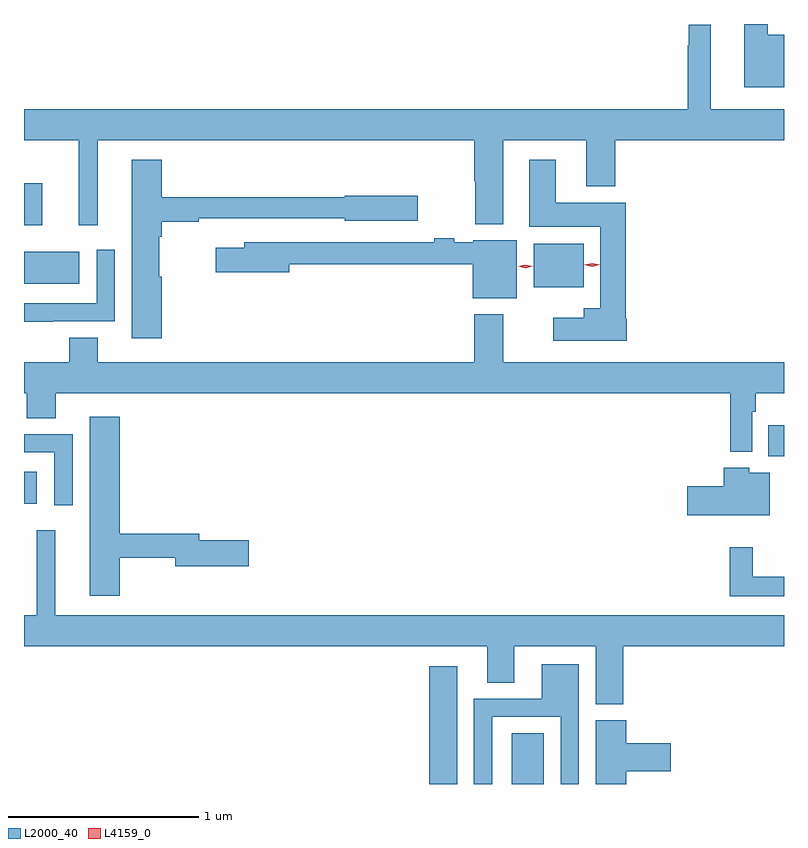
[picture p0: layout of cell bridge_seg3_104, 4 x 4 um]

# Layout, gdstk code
import gdstk
lib = gdstk.Library(unit=1e-6, precision=1e-09)
def R(c, l, rs):  # rectangles x0, y0, x1, y1
    for r in rs: c.add(gdstk.rectangle(r[:2], r[2:], *l))
def P(c, l, *ps):  # polygons
    for p in ps: c.add(gdstk.Polygon(p, *l))
L2000_40 = (2000, 40)
L4159_0 = (4159, 0)

bridge_seg3_104 = lib.new_cell('bridge_seg3_104')
R(bridge_seg3_104, L2000_40, [(556.292,726.832,556.438,727.453), (556.727,726.832,556.894,727.1), (554.159,728.306,554.227,728.476), (558.076,728.558,558.159,728.719), (556.841,729.446,557.104,729.676), (554.159,729.464,554.449,729.634), (554.159,729.774,554.255,729.993)])
P(bridge_seg3_104, L2000_40, [(558.159,730.775),(558.073,730.775),(558.073,730.832),(557.951,730.832),(557.951,730.499),(558.159,730.499)],
  [(554.546,730.22),(556.529,730.22),(556.529,730.005),(556.534,730.005),(556.534,729.779),(556.681,729.779),(556.681,730.22),(557.117,730.22),(557.117,729.977),(557.27,729.977),(557.27,730.22),(558.159,730.22),(558.159,730.384),(557.773,730.384),(557.773,730.828),(557.658,730.828),(557.658,730.721),(557.652,730.721),(557.652,730.384),(554.159,730.384),(554.159,730.22),(554.447,730.22),(554.447,729.774),(554.546,729.774)],
  [(554.885,729.501),(554.872,729.501),(554.872,729.713),(554.885,729.713),(554.885,729.79),(555.08,729.79),(555.08,729.81),(555.846,729.81),(555.846,729.797),(556.231,729.797),(556.231,729.927),(555.846,729.927),(555.846,729.919),(554.885,729.919),(554.885,730.117),(554.726,730.117),(554.726,729.177),(554.885,729.177)],
  [(557.332,729.282),(557.327,729.282),(557.327,729.892),(556.957,729.892),(556.957,730.117),(556.817,730.117),(556.817,729.764),(557.192,729.764),(557.192,729.337),(557.105,729.337),(557.105,729.286),(556.944,729.286),(556.944,729.164),(557.332,729.164)],
  [(556.753,729.694),(556.524,729.694),(556.524,729.684),(556.424,729.684),(556.424,729.704),(556.318,729.704),(556.318,729.684),(555.317,729.684),(555.317,729.655),(555.168,729.655),(555.168,729.526),(555.556,729.526),(555.556,729.568),(556.52,729.568),(556.52,729.389),(556.753,729.389)],
  [(554.312,729.267),(554.637,729.267),(554.637,729.643),(554.541,729.643),(554.541,729.363),(554.159,729.363),(554.159,729.266),(554.312,729.266)],
  [(557.991,728.792),(558.011,728.792),(558.011,728.888),(558.159,728.888),(558.159,729.052),(556.681,729.052),(556.681,729.304),(556.529,729.304),(556.529,729.052),(554.548,729.052),(554.548,729.182),(554.396,729.182),(554.396,729.052),(554.159,729.052),(554.159,728.888),(554.174,728.888),(554.174,728.758),(554.326,728.758),(554.326,728.888),(557.875,728.888),(557.875,728.582),(557.991,728.582)],
  [(554.663,728.022),(554.954,728.022),(554.954,727.979),(555.343,727.979),(555.343,728.114),(555.082,728.114),(555.082,728.15),(554.663,728.15),(554.663,728.764),(554.504,728.764),(554.504,727.824),(554.663,727.824)],
  [(554.415,728.673),(554.159,728.673),(554.159,728.577),(554.319,728.577),(554.319,728.298),(554.415,728.298)],
  [(558.085,728.47),(557.976,728.47),(557.976,728.497),(557.843,728.497),(557.843,728.399),(557.649,728.399),(557.649,728.246),(558.085,728.246)],
  [(557.312,727.556),(558.159,727.556),(558.159,727.72),(554.324,727.72),(554.324,728.167),(554.225,728.167),(554.225,727.72),(554.159,727.72),(554.159,727.556),(556.598,727.556),(556.598,727.366),(556.738,727.366),(556.738,727.556),(557.168,727.556),(557.168,727.252),(557.312,727.252)],
  [(558.159,727.924),(557.995,727.924),(557.995,728.077),(557.874,728.077),(557.874,727.82),(558.159,727.82)],
  [(556.623,727.185),(556.983,727.185),(556.983,726.832),(557.079,726.832),(557.079,727.462),(556.883,727.462),(556.883,727.281),(556.527,727.281),(556.527,726.832),(556.623,726.832)],
  [(557.33,726.899),(557.563,726.899),(557.563,727.046),(557.33,727.046),(557.33,727.167),(557.168,727.167),(557.168,726.883),(557.169,726.883),(557.169,726.832),(557.33,726.832)])
P(bridge_seg3_104, L4159_0, [(557.149,729.554),(557.108,729.564),(557.108,729.564),(557.108,729.564),(557.149,729.574),(557.189,729.565),(557.19,729.565),(557.189,729.564)],
  [(556.798,729.546),(556.759,729.556),(556.759,729.556),(556.759,729.556),(556.797,729.566),(556.836,729.557),(556.836,729.556),(556.836,729.556)])

lib.write_gds('bridge_seg3_104.gds')
